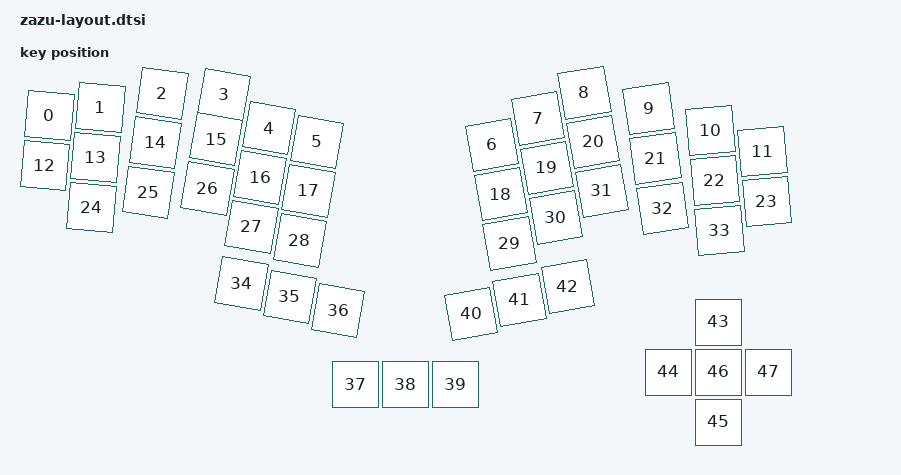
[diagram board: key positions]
#include <physical_layouts.dtsi>

/ {
    zazu_layout: zazu_layout {
        compatible = "zmk,physical-layout";
        display-name = "Layout";
        transform = <&default_transform>;

        keys  //                     w   h    x    y     rot    rx    ry
            = <&key_physical_attrs 100 100    0  100     500    75     0>
            , <&key_physical_attrs 100 100  100   75     500    75     0>
            , <&key_physical_attrs 100 100  225   25     800    75     0>
            , <&key_physical_attrs 100 100  350    0    1000    75     0>
            , <&key_physical_attrs 100 100  450   50    1000    75     0>
            , <&key_physical_attrs 100 100  550   60    1000    75     0>
            , <&key_physical_attrs 100 100  850  197 (-1000)   675    96>
            , <&key_physical_attrs 100 100  950  161 (-1000)   675    96>
            , <&key_physical_attrs 100 100 1050  126 (-1000)   675    96>
            , <&key_physical_attrs 100 100 1175  161  (-800)   675    96>
            , <&key_physical_attrs 100 100 1300  186  (-500)   675    96>
            , <&key_physical_attrs 100 100 1400  237  (-500)   675    96>
            , <&key_physical_attrs 100 100    0  200     500    75     0>
            , <&key_physical_attrs 100 100  100  175     500    75     0>
            , <&key_physical_attrs 100 100  225  125     800    75     0>
            , <&key_physical_attrs 100 100  350   90    1000    75     0>
            , <&key_physical_attrs 100 100  450  150    1000    75     0>
            , <&key_physical_attrs 100 100  550  160    1000    75     0>
            , <&key_physical_attrs 100 100  850  297 (-1000)   675    96>
            , <&key_physical_attrs 100 100  950  261 (-1000)   675    96>
            , <&key_physical_attrs 100 100 1050  226 (-1000)   675    96>
            , <&key_physical_attrs 100 100 1175  261  (-800)   675    96>
            , <&key_physical_attrs 100 100 1300  286  (-500)   675    96>
            , <&key_physical_attrs 100 100 1400  337  (-500)   675    96>
            , <&key_physical_attrs 100 100  100  275     500    75     0>
            , <&key_physical_attrs 100 100  225  225     800    75     0>
            , <&key_physical_attrs 100 100  350  190    1000    75     0>
            , <&key_physical_attrs 100 100  450  250    1000    75     0>
            , <&key_physical_attrs 100 100  550  260    1000    75     0>
            , <&key_physical_attrs 100 100  850  397 (-1000)   675    96>
            , <&key_physical_attrs 100 100  950  362 (-1000)   675    96>
            , <&key_physical_attrs 100 100 1050  326 (-1000)   675    96>
            , <&key_physical_attrs 100 100 1175  362  (-800)   675    96>
            , <&key_physical_attrs 100 100 1300  387  (-500)   675    96>
            , <&key_physical_attrs 100 100  450  365    1000    75     0>
            , <&key_physical_attrs 100 100  550  375    1000    75     0>
            , <&key_physical_attrs 100 100  650  385    1000    75     0>
            , <&key_physical_attrs 100 100  600  635       0     0     0>
            , <&key_physical_attrs 100 100  700  635       0     0     0>
            , <&key_physical_attrs 100 100  800  635       0     0     0>
            , <&key_physical_attrs 100 100  750  522 (-1000)   675    96>
            , <&key_physical_attrs 100 100  850  512 (-1000)   675    96>
            , <&key_physical_attrs 100 100  950  502 (-1000)   675    96>
            , <&key_physical_attrs 100 100 1325  510       0     0     0>
            , <&key_physical_attrs 100 100 1225  610       0     0     0>
            , <&key_physical_attrs 100 100 1325  710       0     0     0>
            , <&key_physical_attrs 100 100 1325  610       0     0     0>
            , <&key_physical_attrs 100 100 1425  610       0     0     0>
            ;
    };
};
